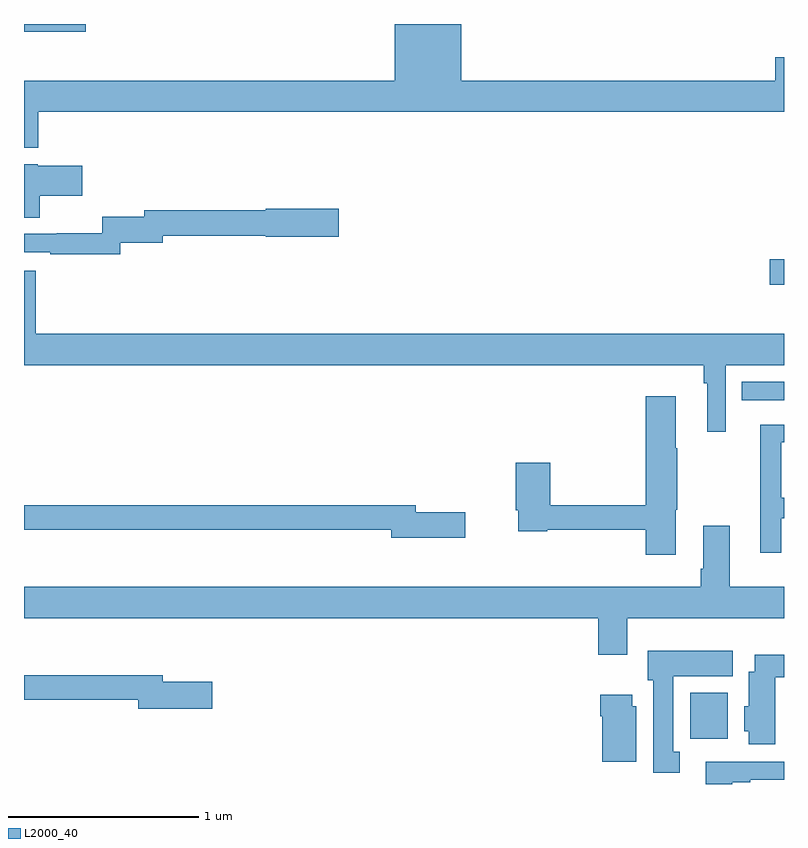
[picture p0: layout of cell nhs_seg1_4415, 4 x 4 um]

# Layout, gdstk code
import gdstk
lib = gdstk.Library(unit=1e-6, precision=1e-09)
def R(c, l, rs):  # rectangles x0, y0, x1, y1
    for r in rs: c.add(gdstk.rectangle(r[:2], r[2:], *l))
def P(c, l, *ps):  # polygons
    for p in ps: c.add(gdstk.Polygon(p, *l))
L2000_40 = (2000, 40)

nhs_seg1_4415 = lib.new_cell('nhs_seg1_4415')
R(nhs_seg1_4415, L2000_40, [(354.506,544.436,354.703,544.678), (354.778,546.219,355,546.315), (354.924,546.827,355,546.962), (351,548.159,351.325,548.199)])
P(nhs_seg1_4415, L2000_40, [(351.074,547.736),(355,547.736),(355,548.024),(354.953,548.024),(354.953,547.9),(353.302,547.9),(353.302,548.199),(352.952,548.199),(352.952,547.9),(351,547.9),(351,547.547),(351.074,547.547)],
  [(351.084,547.295),(351.307,547.295),(351.307,547.453),(351.072,547.453),(351.072,547.462),(351,547.462),(351,547.18),(351.084,547.18)],
  [(351.507,547.048),(351.729,547.048),(351.729,547.084),(352.272,547.084),(352.272,547.079),(352.657,547.079),(352.657,547.226),(352.272,547.226),(352.272,547.22),(351.633,547.22),(351.633,547.184),(351.411,547.184),(351.411,547.097),(351.172,547.097),(351.172,547.095),(351,547.095),(351,546.999),(351.139,546.999),(351.139,546.987),(351.507,546.987)],
  [(354.693,546.404),(355,546.404),(355,546.568),(351.062,546.568),(351.062,546.901),(351,546.901),(351,546.404),(354.577,546.404),(354.577,546.308),(354.596,546.308),(354.596,546.054),(354.693,546.054)],
  [(354.43,545.643),(354.438,545.643),(354.438,545.966),(354.43,545.966),(354.43,546.241),(354.272,546.241),(354.272,545.666),(353.771,545.666),(353.771,545.89),(353.588,545.89),(353.588,545.641),(353.6,545.641),(353.6,545.53),(353.754,545.53),(353.754,545.538),(354.272,545.538),(354.272,545.406),(354.43,545.406)],
  [(354.985,545.598),(355,545.598),(355,545.706),(354.985,545.706),(354.985,545.997),(355,545.997),(355,546.091),(354.876,546.091),(354.876,545.659),(354.875,545.659),(354.875,545.415),(354.985,545.415)],
  [(353.323,545.63),(353.062,545.63),(353.062,545.666),(351,545.666),(351,545.538),(352.934,545.538),(352.934,545.495),(353.323,545.495)],
  [(354.175,545.072),(355,545.072),(355,545.236),(354.715,545.236),(354.715,545.557),(354.575,545.557),(354.575,545.332),(354.563,545.332),(354.563,545.236),(351,545.236),(351,545.072),(354.023,545.072),(354.023,544.878),(354.175,544.878)],
  [(354.451,544.37),(354.418,544.37),(354.418,544.766),(354.73,544.766),(354.73,544.9),(354.284,544.9),(354.284,544.746),(354.311,544.746),(354.311,544.257),(354.451,544.257)],
  [(354.955,544.76),(355,544.76),(355,544.879),(354.845,544.879),(354.845,544.789),(354.815,544.789),(354.815,544.608),(354.791,544.608),(354.791,544.476),(354.815,544.476),(354.815,544.409),(354.955,544.409)],
  [(351.991,544.737),(351.73,544.737),(351.73,544.771),(351,544.771),(351,544.642),(351.602,544.642),(351.602,544.595),(351.991,544.595)],
  [(354.223,544.608),(354.202,544.608),(354.202,544.669),(354.032,544.669),(354.032,544.556),(354.044,544.556),(354.044,544.316),(354.223,544.316)],
  [(354.727,544.209),(354.823,544.209),(354.823,544.221),(355,544.221),(355,544.317),(354.587,544.317),(354.587,544.199),(354.727,544.199)])

lib.write_gds('nhs_seg1_4415.gds')
